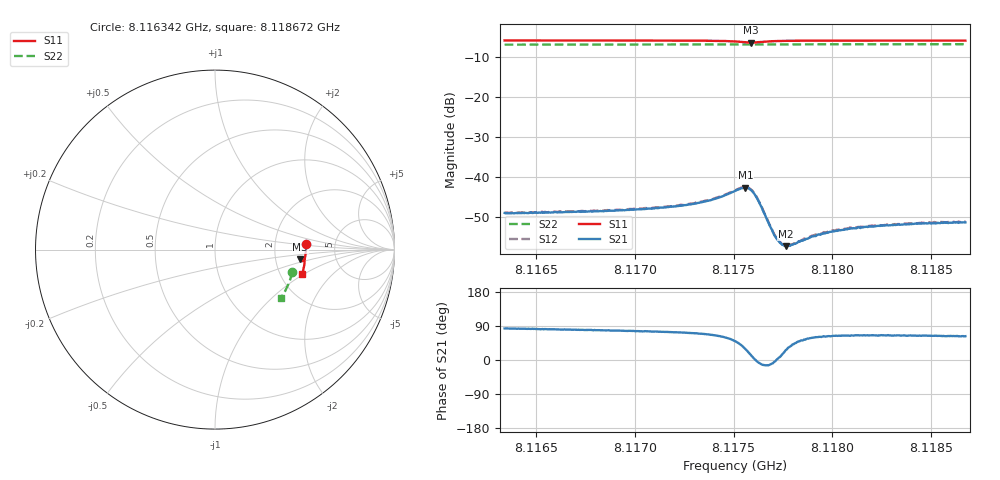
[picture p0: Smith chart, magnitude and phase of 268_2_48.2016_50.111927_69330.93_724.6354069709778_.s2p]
#  HZ  S  RI  R  50.00
! Rohde & Schwarz Vector Network Analyzer
! Rohde-Schwarz,ZNB20-2Port,1311601062101988,3.16
! Created: UTC 3/20/2024, 11:48:03 AM
! freq[Hz]  re:S11  im:S11  re:S21  im:S21  re:S12  im:S12  re:S22  im:S22
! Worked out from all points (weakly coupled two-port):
!   401 points, 8.116342 GHz to 8.118672 GHz, reference 50 ohm
!   highest |S21| = -42.62 dB at 8.11756 GHz (marker M1); lowest = -57.2 dB at 8.117764 GHz (marker M2)
!   lowest |S11| = -6.4 dB at 8.117589 GHz (marker M3), VSWR 2.83, Z = 138 - j19.5 ohm
!   |S11| at or under -10 dB: nowhere
!   |S22| runs from -6.9 to -6.8 dB; largest |S21 - S12| = 0.00019
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8.1163425e9  0.5059 0.0327  0.000428 0.00356  0.000483 0.0036  0.4316 -0.1249
8.1167327e9  0.5063 0.00311  0.000676 0.00366  0.000763 0.00373  0.4244 -0.1509
8.117123e9  0.5046 -0.0276  0.0011 0.00399  0.00115 0.00404  0.4154 -0.1768
8.1172569e9  0.5032 -0.0389  0.00138 0.00428  0.00147 0.00432  0.4119 -0.1855
8.1173559e9  0.5009 -0.0482  0.00183 0.00464  0.00194 0.00473  0.4094 -0.1919
8.1174258e9  0.4978 -0.0554  0.0025 0.00498  0.0026 0.00507  0.4071 -0.1965
8.1175074e9  0.4889 -0.0636  0.00437 0.00516  0.00451 0.00523  0.4044 -0.2018
8.1175423e9  0.4816 -0.0639  0.00577 0.00447  0.00594 0.00449  0.4032 -0.2037
8.1175598e9  0.4779 -0.0617  0.00646 0.00361  0.00661 0.00359  0.4025 -0.2047
8.1175889e9  0.4748 -0.0543  0.00676 0.00147  0.00688 0.00138  0.4018 -0.206
8.1176064e9  0.4767 -0.0497  0.00615 0.000261  0.00627 0.000214  0.4013 -0.207
8.1176239e9  0.4803 -0.0465  0.00516 -0.000539  0.00525 -0.00061  0.4012 -0.2078
8.1176938e9  0.4937 -0.0504  0.00219 -0.000372  0.00222 -0.000412  0.3996 -0.2124
8.1177171e9  0.4957 -0.0534  0.00173 1.58e-05  0.00175 -3.88e-05  0.399 -0.2139
8.1177404e9  0.4971 -0.0563  0.00147 0.000295  0.00149 0.000295  0.3984 -0.2153
8.1177637e9  0.4979 -0.0593  0.00124 0.000608  0.0013 0.000568  0.3977 -0.2169
8.1177986e9  0.4985 -0.0632  0.00109 0.000953  0.0011 0.000942  0.3966 -0.2192
8.1178976e9  0.4988 -0.0732  0.000953 0.00157  0.001 0.0016  0.3935 -0.2256
8.1179675e9  0.4982 -0.0794  0.000948 0.00179  0.000995 0.00181  0.3914 -0.2299
8.1180957e9  0.4966 -0.0901  0.000987 0.0021  0.001 0.00213  0.3869 -0.238
8.1182879e9  0.4937 -0.1051  0.00106 0.00228  0.0011 0.00235  0.3802 -0.2496
8.1186723e9  0.4866 -0.1335  0.00125 0.00244  0.00132 0.00251  0.3655 -0.2722
